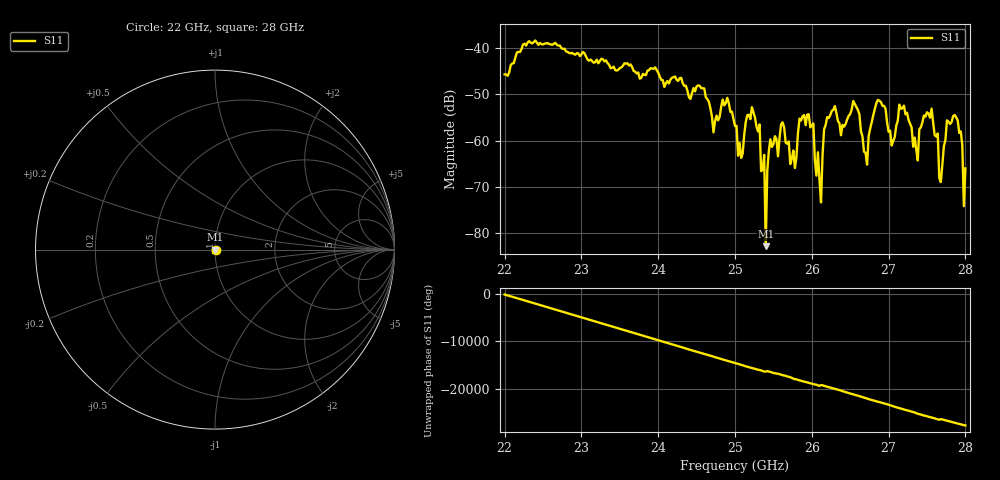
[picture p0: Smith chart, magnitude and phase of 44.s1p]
#  HZ  S  RI  R  50.00
! Rohde & Schwarz ZVA40 4Ports - Version 3.90 - 1145.1110k42 SN: 100403
! Date: 2023-10-04 10:40:46
! Measurement: S12
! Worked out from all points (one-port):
!   301 points, 22 GHz to 28 GHz, reference 50 ohm
!   lowest |S11| = -82.7 dB at 25.4 GHz (marker M1), VSWR 1.00, Z = 50 + j0.00168 ohm
!   |S11| at or under -10 dB: start of sweep to end of sweep
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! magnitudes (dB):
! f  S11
! 22 GHz  -45.7
! 22.76 GHz  -40.3
! 23.5 GHz  -44.4
! 24.26 GHz  -47.1
! 25 GHz  -56.9
! 25.08 GHz  -63.7
! 25.32 GHz  -56.5
! 25.34 GHz  -66.6
! 25.38 GHz  -63.1
! 25.4 GHz  -82.7
! 25.46 GHz  -59.7
! 25.76 GHz  -62.1
! 25.96 GHz  -54.3
! 26.12 GHz  -73.3
! 26.2 GHz  -54.9
! 26.5 GHz  -54.3
! 26.72 GHz  -65.2
! 26.86 GHz  -51.2
! 27.04 GHz  -61.0
! 27.26 GHz  -55.5
! 27.38 GHz  -64.3
! 27.56 GHz  -53.1
! 27.68 GHz  -68.9
! 27.76 GHz  -55.6
! 27.86 GHz  -54.5
! 27.96 GHz  -61.0
! 27.98 GHz  -74.1
! 28 GHz  -66.0
